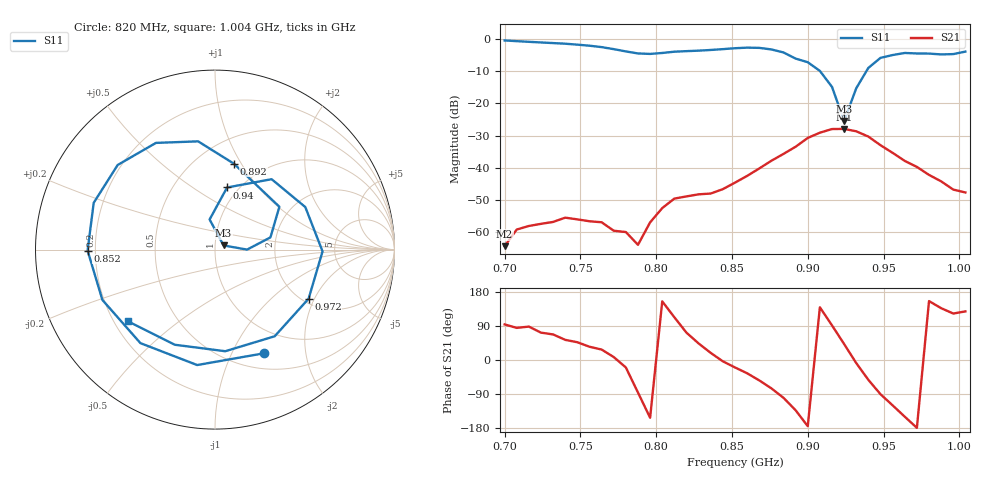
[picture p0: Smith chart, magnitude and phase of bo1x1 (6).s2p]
# Hz S RI R 50
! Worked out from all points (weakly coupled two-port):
!   39 points, 700 MHz to 1.004 GHz, reference 50 ohm
!   highest |S21| = -27.96 dB at 924 MHz (marker M1); lowest = -64.3 dB at 700 MHz (marker M2)
!   lowest |S11| = -25.5 dB at 924 MHz (marker M3), VSWR 1.11, Z = 54.9 + j2.56 ohm
!   |S11| at or under -10 dB: 908 MHz to 938.8 MHz (30.8 MHz wide, 3.34 % of centre)
!   S12 and S22 are empty: the file has one direction only
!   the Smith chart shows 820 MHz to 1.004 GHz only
!   S11 on the Smith chart (normalised r, x): 820 MHz: 0.69, -1.34; 852 MHz: 0.17, -0.00; 892 MHz: 0.74, +0.93; 940 MHz: 0.88, +0.70; 972 MHz: 2.15, -1.80; 1.004 GHz: 0.26, -0.34
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7e8  0.7493 0.5609  -4.19e-05 0.000611  0 0  0 0
7.24e8  0.8395 -0.2336  0.000415 0.00129  0 0  0 0
7.4e8  0.4659 -0.6914  0.00101 0.00135  0 0  0 0
7.56e8  -0.1823 -0.7546  0.00122 0.000853  0 0  0 0
7.72e8  -0.6571 -0.201  0.00105 0.000144  0 0  0 0
7.8e8  -0.5923 0.2239  0.000953 -0.000342  0 0  0 0
7.88e8  -0.2444 0.5362  4.46e-05 -0.000641  0 0  0 0
7.96e8  0.2463 0.5243  -0.00127 -0.000664  0 0  0 0
8.04e8  0.5733 0.174  -0.00215 0.00102  0 0  0 0
8.2e8  0.2748 -0.5774  0.00111 0.00343  0 0  0 0
8.36e8  -0.4156 -0.5211  0.00379 0.00128  0 0  0 0
8.52e8  -0.7098 -0.00552  0.00555 -0.00198  0 0  0 0
8.76e8  -0.3291 0.5945  0.00336 -0.0124  0 0  0 0
8.92e8  0.1056 0.4786  -0.0144 -0.0156  0 0  0 0
9e8  0.3587 0.2388  -0.0288 -0.00269  0 0  0 0
9.08e8  0.3089 0.0681  -0.0264 0.0229  0 0  0 0
9.24e8  0.0476 0.0233  0.0297 0.0268  0 0  0 0
9.4e8  0.0674 0.3461  0.0185 -0.0241  0 0  0 0
9.56e8  0.5031 0.237  -0.00844 -0.0148  0 0  0 0
9.72e8  0.5216 -0.2733  -0.0103 -0.000174  0 0  0 0
9.88e8  0.0574 -0.5662  -0.0045 0.00423  0 0  0 0
1.004e9  -0.4866 -0.3987  -0.00257 0.00326  0 0  0 0
